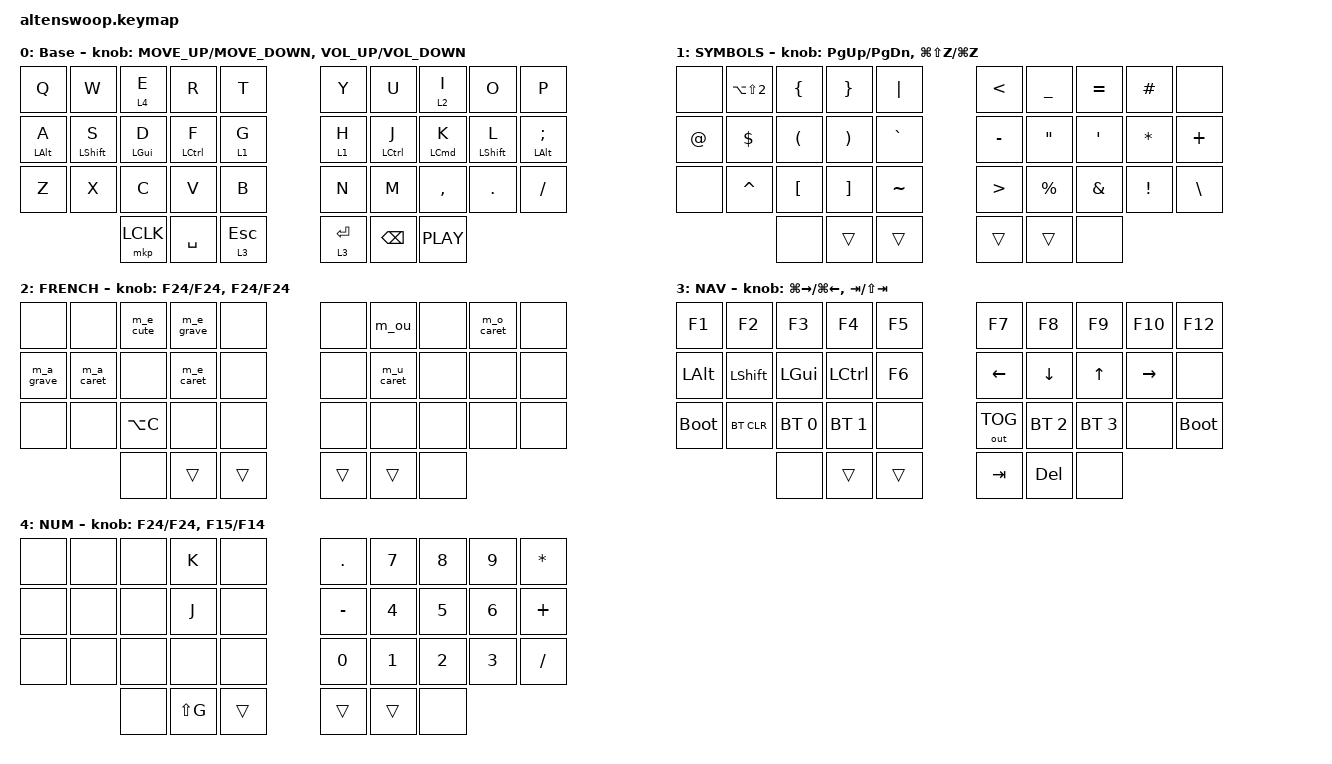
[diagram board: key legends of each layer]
/*
 * Copyright (c) 2020 duckyb
 *
 * SPDX-License-Identifier: MIT
 */

#include <dt-bindings/zmk/mouse.h>
#include <behaviors.dtsi>
#include <dt-bindings/zmk/bt.h>
#include <dt-bindings/zmk/keys.h>
#include <dt-bindings/zmk/outputs.h>
#include <dt-bindings/zmk/pointing.h>

#define ZMK_MOUSE_SCRL_VAL 140

/ {
    behaviors {
        hm: require_prior_idle {
            compatible = "zmk,behavior-hold-tap";
            label = "Home row mod tap/hold";
            #binding-cells = <2>;
            flavor = "tap-preferred";
            tapping-term-ms = <150>;
            bindings = <&kp>, <&kp>;
        };

        hl: require_prior_idle2 {
            compatible = "zmk,behavior-hold-tap";
            label = "Home row layer mod tap/hold";
            #binding-cells = <2>;
            flavor = "tap-preferred";
            tapping-term-ms = <150>;
            bindings = <&mo>, <&kp>;
        };

        inc_dec_msc: enc_key_press {
            compatible = "zmk,behavior-sensor-rotate-var";
            #sensor-binding-cells = <2>;
            bindings = <&msc>, <&msc>;

            tap-ms = <20>;
        };
    };

    combos {
        compatible = "zmk,combos";

        capslock {
            bindings = <&kp CAPSLOCK>;
            key-positions = <11 18>;
            layers = <0>;
        };

        dh {
            bindings = <&m_paren_quote>;
            key-positions = <12 15>;
            layers = <0>;
        };

        gh {
            bindings = <&kp MINUS>;
            key-positions = <14 15>;
            layers = <0>;
        };

        s, {
            bindings = <&m_lt_gt_left>;
            key-positions = <11 27>;
            layers = <0>;
        };
    };

    macros {
        m_a_grave: m_a_grave {
            compatible = "zmk,behavior-macro";
            label = "M_A_GRAVE";
            #binding-cells = <0>;
            bindings = <&kp LA(GRAVE) &kp A>;
        };

        m_a_caret: m_a_caret {
            compatible = "zmk,behavior-macro";
            label = "M_A_CARET";
            #binding-cells = <0>;
            bindings = <&kp LA(I) &kp A>;
        };

        m_e_cute: m_e_cute {
            compatible = "zmk,behavior-macro";
            label = "M_E_CUTE";
            #binding-cells = <0>;
            bindings = <&kp LA(E) &kp E>;
        };

        m_e_grave: m_e_grave {
            compatible = "zmk,behavior-macro";
            label = "M_E_GRAVE";
            #binding-cells = <0>;
            bindings = <&kp LA(GRAVE) &kp E>;
        };

        m_e_caret: m_e_caret {
            compatible = "zmk,behavior-macro";
            label = "M_E_CARET";
            #binding-cells = <0>;
            bindings = <&kp LA(I) &kp E>;
        };

        m_ou: m_ou {
            compatible = "zmk,behavior-macro";
            label = "M_OU";
            #binding-cells = <0>;
            bindings = <&kp O &kp LA(GRAVE) &kp U>;
        };

        m_u_caret: m_u_caret {
            compatible = "zmk,behavior-macro";
            label = "M_U_CARET";
            #binding-cells = <0>;
            bindings = <&kp LA(I) &kp U>;
        };

        m_o_caret: m_o_caret {
            compatible = "zmk,behavior-macro";
            label = "M_O_CARET";
            #binding-cells = <0>;
            bindings = <&kp LA(I) &kp O>;
        };

        m_paren_quote: m_paren_quote {
            compatible = "zmk,behavior-macro";
            label = "M_PAREN_QUOTE";
            #binding-cells = <0>;
            bindings = <&kp LEFT_PARENTHESIS &kp DOUBLE_QUOTES>;
        };

        m_lt_gt_left: m_lt_gt_left {
            compatible = "zmk,behavior-macro";
            label = "M_LT_GT_LEFT";
            #binding-cells = <0>;
            bindings = <&kp LESS_THAN &kp GREATER_THAN &kp LEFT>;
        };
    };

    keymap {
        compatible = "zmk,keymap";

        base {
            label = "Base";
            bindings = <
&kp Q       &kp W        &lt 4 E     &kp R               &kp T           &kp Y        &kp U               &lt 2 I     &kp O        &kp P
&hm LALT A  &hm LSHFT S  &hm LGUI D  &hm LEFT_CONTROL F  &hl 1 G         &hl 1 H      &hm LEFT_CONTROL J  &hm LCMD K  &hm LSHFT L  &hm LALT SEMI
&kp Z       &kp X        &kp C       &kp V               &kp B           &kp N        &kp M               &kp COMMA   &kp DOT      &kp FSLH
                         &mkp LCLK   &kp SPACE           &hl 3 ESCAPE    &hl 3 ENTER  &kp BACKSPACE       &kp C_PLAY
            >;

            sensor-bindings =
                <&inc_dec_msc MOVE_UP MOVE_DOWN>,
                <&inc_dec_kp K_VOLUME_UP K_VOLUME_DOWN>;
        };

        symbols {
            label = "SYMBOLS";
            bindings = <
&none   &kp LA(LS(N2))  &kp LEFT_BRACE        &kp RIGHT_BRACE        &kp PIPE     &kp LESS_THAN     &kp UNDER          &kp EQUAL      &kp HASH         &none
&kp AT  &kp DOLLAR      &kp LEFT_PARENTHESIS  &kp RIGHT_PARENTHESIS  &kp GRAVE    &kp MINUS         &kp DOUBLE_QUOTES  &kp APOS       &kp ASTERISK     &kp PLUS
&none   &kp CARET       &kp LEFT_BRACKET      &kp RIGHT_BRACKET      &kp TILDE    &kp GREATER_THAN  &kp PERCENT        &kp AMPERSAND  &kp EXCLAMATION  &kp BACKSLASH
                        &none                 &trans                 &trans       &trans            &trans             &none
            >;

            sensor-bindings =
                <&inc_dec_kp PAGE_UP PAGE_DOWN>,
                <&inc_dec_kp LG(LS(Z)) LG(Z)>;
        };

        french {
            label = "FRENCH";
            bindings = <
&none       &none       &m_e_cute  &m_e_grave  &none     &none   &m_ou       &none  &m_o_caret  &none
&m_a_grave  &m_a_caret  &none      &m_e_caret  &none     &none   &m_u_caret  &none  &none       &none
&none       &none       &kp LA(C)  &none       &none     &none   &none       &none  &none       &none
                        &none      &trans      &trans    &trans  &trans      &none
            >;

            sensor-bindings = <&inc_dec_kp F24 F24>, <&inc_dec_kp F24 F24>;
        };

        navigation {
            label = "NAV";
            bindings = <
&kp F1        &kp F2          &kp F3        &kp F4            &kp F5    &kp F7        &kp F8        &kp F9        &kp F10    &kp F12
&kp LEFT_ALT  &kp LEFT_SHIFT  &kp LEFT_GUI  &kp LEFT_CONTROL  &kp F6    &kp LEFT      &kp DOWN      &kp UP        &kp RIGHT  &none
&bootloader   &bt BT_CLR      &bt BT_SEL 0  &bt BT_SEL 1      &none     &out OUT_TOG  &bt BT_SEL 2  &bt BT_SEL 3  &none      &bootloader
                              &none         &trans            &trans    &kp TAB       &kp DELETE    &none
            >;

            sensor-bindings =
                <&inc_dec_kp LG(RIGHT) LG(LEFT)>,
                <&inc_dec_kp TAB LS(TAB)>;
        };

        numpad {
            bindings = <
&none  &none  &none  &kp K      &none     &kp DOT       &kp N7  &kp N8  &kp N9  &kp STAR
&none  &none  &none  &kp J      &none     &kp MINUS     &kp N4  &kp N5  &kp N6  &kp PLUS
&none  &none  &none  &none      &none     &kp NUMBER_0  &kp N1  &kp N2  &kp N3  &kp FSLH
              &none  &kp LS(G)  &trans    &trans        &trans  &none
            >;

            label = "NUM";
            sensor-bindings = <&inc_dec_kp F24 F24>, <&inc_dec_kp F15 F14>;
        };
    };
};
